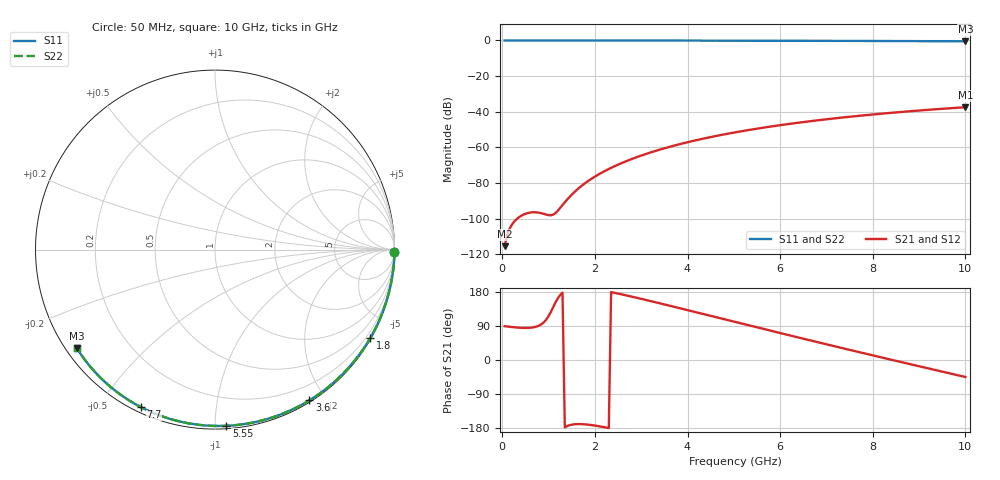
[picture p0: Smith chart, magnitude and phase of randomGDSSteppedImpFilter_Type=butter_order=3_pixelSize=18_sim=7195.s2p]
! freq	dB(S11)	phase(S11)	dB(S12)	phase(S12)
!  dB(S21)	phase(S21)	dB(S22)	phase(S22)
!S-par simulation data
#  GHz  S  DB  R 50
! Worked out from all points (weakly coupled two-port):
!   200 points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, 50 MHz to 10 GHz, reference 50 ohm
!   highest |S21| = -37.49 dB at 10 GHz (marker M1); lowest = -115.5 dB at 50 MHz (marker M2)
!   lowest |S11| = -0.5 dB at 10 GHz (marker M3), VSWR 35.48, Z = 1.55 - j16 ohm
!   |S11| at or under -10 dB: nowhere
!   |S22| runs from -0.5 to 0.0 dB; largest |S21 - S12| = 0
!   S11 on the Smith chart (normalised r, x): 50 MHz: open; 1.8 GHz: 0.03, -3.77; 3.6 GHz: 0.02, -1.81; 5.55 GHz: 0.02, -1.07; 7.7 GHz: 0.02, -0.63; 10 GHz: 0.03, -0.32
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0.05  -0.00 -0.8  -115.50 89.2  -115.50 89.2  -0.00 -0.8
0.45  -0.01 -7.5  -97.86 84.6  -97.86 84.6  -0.01 -7.5
0.9  -0.02 -15.0  -97.42 99.8  -97.42 99.8  -0.02 -15.0
1.3  -0.03 -21.6  -92.44 177.8  -92.44 177.8  -0.03 -21.6
1.75  -0.04 -28.9  -80.88 -169.5  -80.88 -169.5  -0.04 -28.9
1.8  -0.04 -29.7  -79.90 -170.0  -79.90 -170.0  -0.04 -29.7
1.95  -0.04 -32.1  -77.26 -172.1  -77.26 -172.1  -0.04 -32.1
2.1  -0.04 -34.5  -74.92 -175.0  -74.92 -175.0  -0.04 -34.5
2.3  -0.05 -37.7  -72.16 -179.6  -72.16 -179.6  -0.05 -37.7
2.5  -0.05 -40.9  -69.72 175.3  -69.72 175.3  -0.05 -40.9
2.9  -0.06 -47.2  -65.55 164.3  -65.55 164.3  -0.06 -47.2
3.4  -0.07 -54.9  -61.30 149.7  -61.30 149.7  -0.07 -54.9
3.6  -0.08 -57.9  -59.81 143.7  -59.81 143.7  -0.08 -58.0
4.3  -0.10 -68.4  -55.35 122.6  -55.35 122.6  -0.10 -68.4
5.05  -0.12 -79.3  -51.49 99.8  -51.49 99.8  -0.12 -79.3
5.55  -0.14 -86.3  -49.31 84.7  -49.31 84.7  -0.14 -86.4
6.1  -0.17 -93.9  -47.20 68.1  -47.20 68.1  -0.17 -94.0
6.7  -0.20 -102.0  -45.17 50.3  -45.17 50.3  -0.20 -102.1
7.7  -0.26 -115.2  -42.31 20.9  -42.31 20.9  -0.26 -115.2
8.35  -0.32 -123.5  -40.73 2.1  -40.73 2.1  -0.32 -123.6
9.2  -0.40 -134.4  -38.93 -22.2  -38.93 -22.2  -0.40 -134.4
10  -0.49 -144.6  -37.49 -44.8  -37.49 -44.8  -0.49 -144.6
